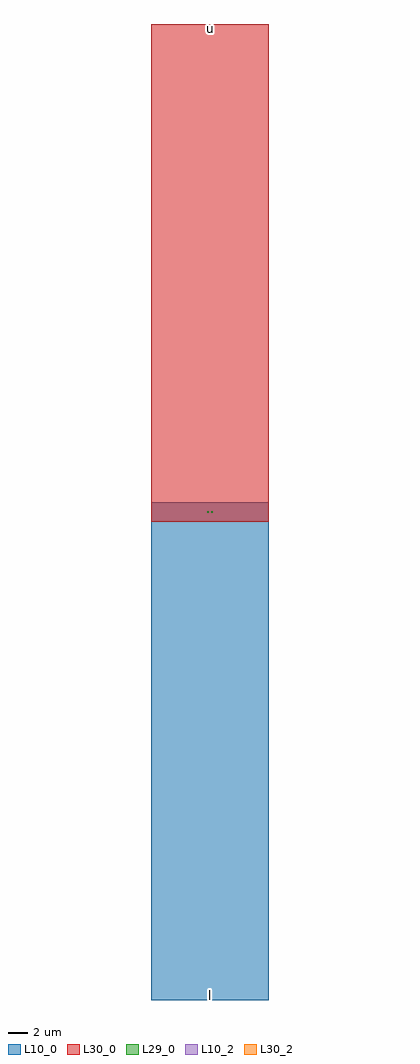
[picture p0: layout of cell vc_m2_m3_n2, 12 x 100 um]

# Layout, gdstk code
import gdstk
lib = gdstk.Library(unit=1e-6, precision=1e-09)
def R(c, l, rs):  # rectangles x0, y0, x1, y1
    for r in rs: c.add(gdstk.rectangle(r[:2], r[2:], *l))
L10_0 = (10, 0)
L10_2 = (10, 2)
L29_0 = (29, 0)
L30_0 = (30, 0)
L30_2 = (30, 2)

vc_m2_m3_n2 = lib.new_cell('vc_m2_m3_n2')
R(vc_m2_m3_n2, L10_0, [(0,0,12,51)])
R(vc_m2_m3_n2, L10_2, [(5.9,0.4,6.1,0.6)])
R(vc_m2_m3_n2, L29_0, [(5.7,49.905,5.89,50.095), (6.11,49.905,6.3,50.095)])
R(vc_m2_m3_n2, L30_0, [(0,49,12,100)])
R(vc_m2_m3_n2, L30_2, [(5.9,99.4,6.1,99.6)])
vc_m2_m3_n2.add(gdstk.Label('l', (6,0.5), layer=10, texttype=2))
vc_m2_m3_n2.add(gdstk.Label('u', (6,99.5), layer=30, texttype=2))

lib.write_gds('vc_m2_m3_n2.gds')
